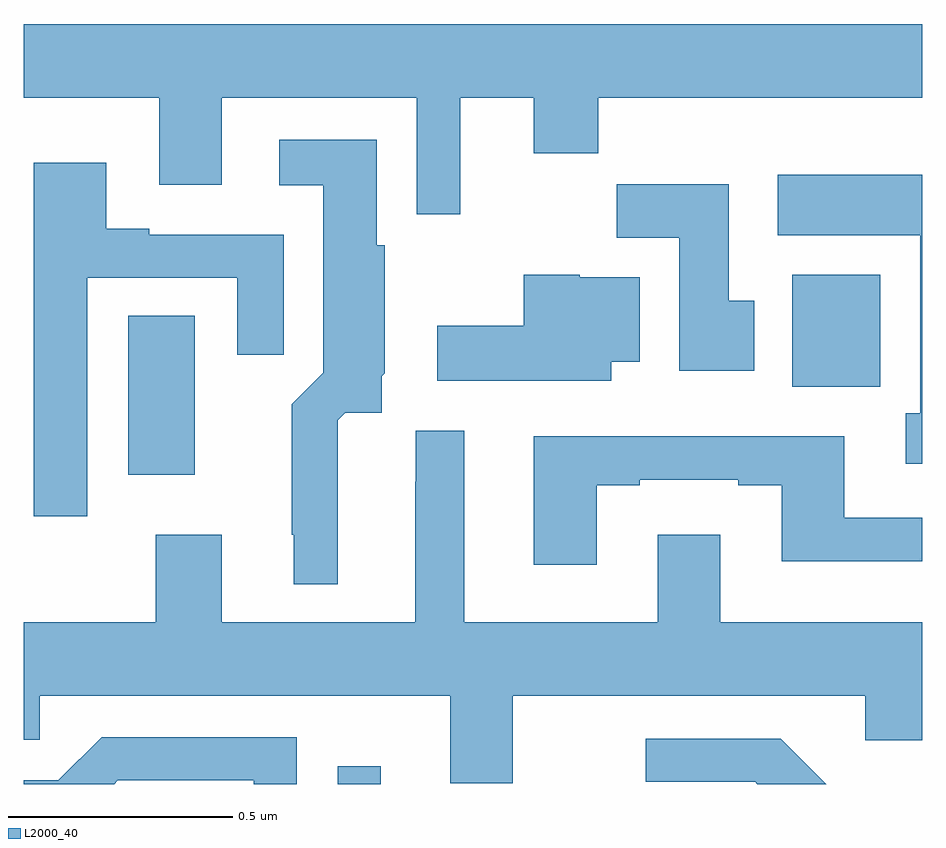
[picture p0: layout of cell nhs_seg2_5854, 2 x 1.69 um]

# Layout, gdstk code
import gdstk
lib = gdstk.Library(unit=1e-6, precision=1e-09)
def R(c, l, rs):  # rectangles x0, y0, x1, y1
    for r in rs: c.add(gdstk.rectangle(r[:2], r[2:], *l))
def P(c, l, *ps):  # polygons
    for p in ps: c.add(gdstk.Polygon(p, *l))
L2000_40 = (2000, 40)

nhs_seg2_5854 = lib.new_cell('nhs_seg2_5854')
R(nhs_seg2_5854, L2000_40, [(184.699,620.8,184.795,620.839), (184.232,621.489,184.381,621.842), (185.711,621.684,185.907,621.934)])
P(nhs_seg2_5854, L2000_40, [(184.972,622.328),(185.135,622.328),(185.135,622.204),(185.279,622.204),(185.279,622.328),(186,622.328),(186,622.492),(184,622.492),(184,622.328),(184.301,622.328),(184.301,622.134),(184.441,622.134),(184.441,622.328),(184.875,622.328),(184.875,622.068),(184.972,622.068)],
  [(184.699,621.61),(184.716,621.627),(184.797,621.627),(184.797,621.708),(184.804,621.715),(184.804,621.999),(184.786,621.999),(184.786,622.234),(184.569,622.234),(184.569,622.133),(184.667,622.133),(184.667,621.716),(184.597,621.646),(184.597,621.355),(184.601,621.355),(184.601,621.245),(184.699,621.245)],
  [(184.141,621.927),(184.475,621.927),(184.475,621.756),(184.579,621.756),(184.579,622.023),(184.279,622.023),(184.279,622.036),(184.183,622.036),(184.183,622.183),(184.022,622.183),(184.022,621.396),(184.141,621.396)],
  [(186,622.156),(185.679,622.156),(185.679,622.022),(185.996,622.022),(185.996,621.625),(185.963,621.625),(185.963,621.513),(186,621.513)],
  [(185.626,621.876),(185.569,621.876),(185.569,622.135),(185.32,622.135),(185.32,622.016),(185.459,622.016),(185.459,621.72),(185.626,621.72)],
  [(185.308,621.74),(185.371,621.74),(185.371,621.928),(185.238,621.928),(185.238,621.934),(185.113,621.934),(185.113,621.82),(184.92,621.82),(184.92,621.698),(185.308,621.698)],
  [(184.949,620.802),(185.089,620.802),(185.089,620.996),(185.873,620.996),(185.873,620.897),(186,620.897),(186,621.16),(185.551,621.16),(185.551,621.355),(185.411,621.355),(185.411,621.16),(184.981,621.16),(184.981,621.586),(184.872,621.586),(184.872,621.473),(184.871,621.473),(184.871,621.16),(184.441,621.16),(184.441,621.355),(184.294,621.355),(184.294,621.16),(184,621.16),(184,620.898),(184.035,620.898),(184.035,620.996),(184.949,620.996)],
  [(185.275,621.465),(185.371,621.465),(185.371,621.477),(185.591,621.477),(185.591,621.465),(185.687,621.465),(185.687,621.296),(186,621.296),(186,621.393),(185.827,621.393),(185.827,621.574),(185.135,621.574),(185.135,621.288),(185.275,621.288)],
  [(184.209,620.808),(184.512,620.808),(184.512,620.8),(184.608,620.8),(184.608,620.904),(184.173,620.904),(184.077,620.808),(184,620.808),(184,620.8),(184.201,620.8)],
  [(185.685,620.901),(185.385,620.901),(185.385,620.805),(185.628,620.805),(185.633,620.8),(185.786,620.8)])

lib.write_gds('nhs_seg2_5854.gds')
